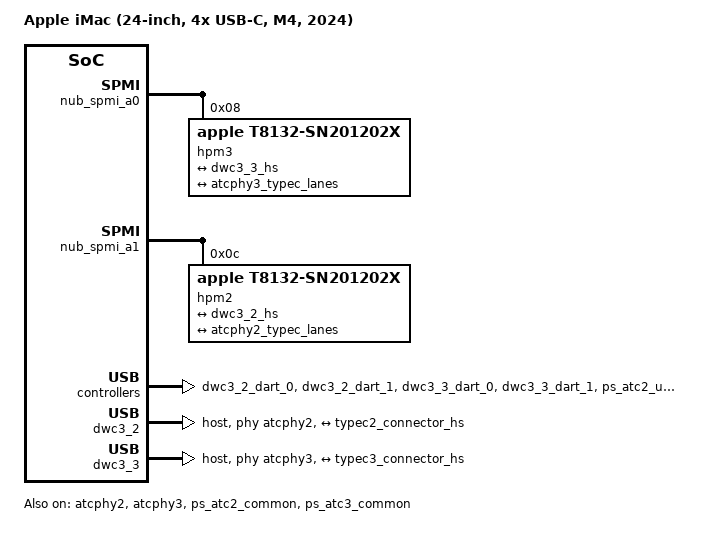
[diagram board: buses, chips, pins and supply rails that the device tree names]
// SPDX-License-Identifier: GPL-2.0+ OR MIT
/*
 * Apple iMac (24-inch, 4x USB-C, M4, 2024)
 *
 * target-type: J624
 *
 * Copyright The Asahi Linux Contributors
 */

/dts-v1/;

#include "t8132.dtsi"
#include "t8132-j623-j624.dtsi"
#include "t8132-atc23.dtsi"

/ {
	compatible = "apple,j624", "apple,t8132", "apple,arm-platform";
	model = "Apple iMac (24-inch, 4x USB-C, M4, 2024)";
};

&sound_jack {
	compatible = "apple,j624-macaudio-jack", "apple,macaudio";
	model = "iMac J624 Jack";
};

&aop_audio {
	apple,chassis-name = "J624";
};

/*
 * The third and fourth ports on ATC3 and ATC2. Their port controllers are
 * guessed: ATC3's at nub-spmi-a0 0x8 as on the Mac mini, ATC2's at
 * nub-spmi-a1 0xc as the MacBook Pro's extra port.
 */
&nub_spmi_a0 {
	hpm3: usb-pd@8 {
		compatible = "apple,t8132-sn201202x", "apple,sn201202x";
		reg = <0x8 SPMI_USID>;
		interrupts = <63 IRQ_TYPE_EDGE_RISING>,
			     <69 IRQ_TYPE_EDGE_RISING>,
			     <71 IRQ_TYPE_EDGE_RISING>;
		interrupt-names = "irq", "sleep", "wake";
		wakeup-source;

		typec3: connector {
			compatible = "usb-c-connector";
			label = "USB-C Back 3";
			power-role = "dual";
			data-role = "dual";

			ports {
				#address-cells = <1>;
				#size-cells = <0>;

				port@0 {
					reg = <0>;
					typec3_connector_hs: endpoint {
						remote-endpoint = <&dwc3_3_hs>;
					};
				};

				port@1 {
					reg = <1>;
					typec3_connector_ss: endpoint {
						remote-endpoint = <&atcphy3_typec_lanes>;
					};
				};
			};
		};
	};
};

&nub_spmi_a1 {
	status = "okay";

	hpm2: usb-pd@c {
		compatible = "apple,t8132-sn201202x", "apple,sn201202x";
		reg = <0xc SPMI_USID>;
		interrupts = <11 IRQ_TYPE_EDGE_RISING>,
			     <17 IRQ_TYPE_EDGE_RISING>,
			     <19 IRQ_TYPE_EDGE_RISING>;
		interrupt-names = "irq", "sleep", "wake";
		wakeup-source;

		typec2: connector {
			compatible = "usb-c-connector";
			label = "USB-C Back 4";
			power-role = "dual";
			data-role = "dual";

			ports {
				#address-cells = <1>;
				#size-cells = <0>;

				port@0 {
					reg = <0>;
					typec2_connector_hs: endpoint {
						remote-endpoint = <&dwc3_2_hs>;
					};
				};

				port@1 {
					reg = <1>;
					typec2_connector_ss: endpoint {
						remote-endpoint = <&atcphy2_typec_lanes>;
					};
				};
			};
		};
	};
};

&atcphy2 {
	status = "okay";

	ports {
		#address-cells = <1>;
		#size-cells = <0>;

		port@0 {
			reg = <0>;
			atcphy2_typec_lanes: endpoint {
				remote-endpoint = <&typec2_connector_ss>;
			};
		};
	};
};

&dwc3_2_dart_0 {
	status = "okay";
};

&dwc3_2_dart_1 {
	status = "okay";
};

&dwc3_2 {
	dr_mode = "host";
	maximum-speed = "super-speed";
	phys = <&atcphy2 PHY_TYPE_USB2>, <&atcphy2 PHY_TYPE_USB3>;
	phy-names = "usb2-phy", "usb3-phy";
	status = "okay";

	ports {
		#address-cells = <1>;
		#size-cells = <0>;

		port@0 {
			reg = <0>;
			dwc3_2_hs: endpoint {
				remote-endpoint = <&typec2_connector_hs>;
			};
		};
	};
};

&atcphy3 {
	status = "okay";

	ports {
		#address-cells = <1>;
		#size-cells = <0>;

		port@0 {
			reg = <0>;
			atcphy3_typec_lanes: endpoint {
				remote-endpoint = <&typec3_connector_ss>;
			};
		};
	};
};

&dwc3_3_dart_0 {
	status = "okay";
};

&dwc3_3_dart_1 {
	status = "okay";
};

&dwc3_3 {
	dr_mode = "host";
	maximum-speed = "super-speed";
	phys = <&atcphy3 PHY_TYPE_USB2>, <&atcphy3 PHY_TYPE_USB3>;
	phy-names = "usb2-phy", "usb3-phy";
	status = "okay";

	ports {
		#address-cells = <1>;
		#size-cells = <0>;

		port@0 {
			reg = <0>;
			dwc3_3_hs: endpoint {
				remote-endpoint = <&typec3_connector_hs>;
			};
		};
	};
};

/*
 * The PMGR domains of the USB-C ports this board wires beyond ATC0/ATC1, as
 * the M4 firmware path's policy enables ATC0/ATC1's.
 */
&ps_atc2_common {
	status = "okay";
};

&ps_atc2_usb_aon {
	status = "okay";
};

&ps_atc2_usb {
	status = "okay";
};

&ps_atc3_common {
	status = "okay";
};

&ps_atc3_usb_aon {
	status = "okay";
};

&ps_atc3_usb {
	status = "okay";
};
